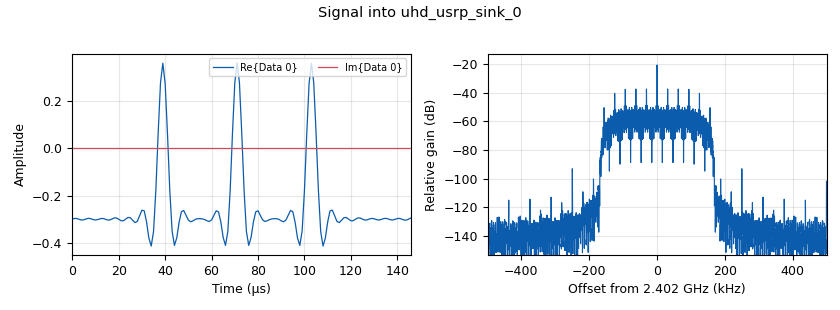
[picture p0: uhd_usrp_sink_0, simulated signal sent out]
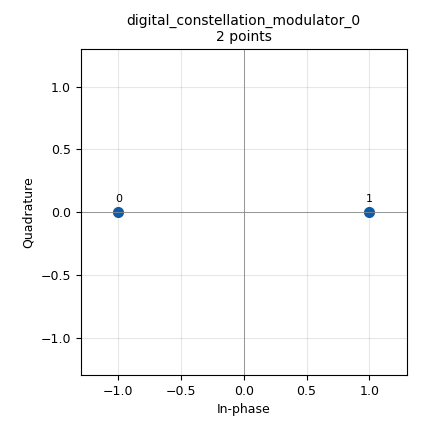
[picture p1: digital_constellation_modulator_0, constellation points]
options:
  parameters:
    author: DeepRadio
    category: '[DeepRadio]'
    comment: USRP B210 continuous BPSK test transmitter at 2.402 GHz
    description: Continuous, pulse-shaped BPSK test signal for a USRP B210. Connect a suitable 2.4 GHz antenna or a rated 50-ohm load before starting.
    generate_options: no_gui
    id: b210_bpsk_tx_2402MHz
    output_language: python
    title: USRP B210 BPSK TX - 2.402 GHz
  states: {}

blocks:
- name: amplitude
  id: variable
  parameters:
    comment: Digital baseband amplitude; keep below 1.0
    value: '0.30'
  states: {}
- name: center_freq
  id: variable
  parameters:
    comment: RF carrier frequency (Hz)
    value: 2.402e9
  states: {}
- name: excess_bw
  id: variable
  parameters:
    comment: Root-raised-cosine roll-off factor
    value: '0.35'
  states: {}
- name: samp_rate
  id: variable
  parameters:
    comment: USRP complex sample rate (samples/s)
    value: 1e6
  states: {}
- name: sps
  id: variable
  parameters:
    comment: Samples per BPSK symbol; symbol rate = samp_rate / sps
    value: '4'
  states: {}
- name: tx_gain
  id: variable
  parameters:
    comment: B210 TX hardware gain (dB); start low
    value: '20'
  states: {}
- name: blocks_multiply_const_vxx_0
  id: blocks_multiply_const_vxx
  parameters:
    comment: Conservative digital amplitude to avoid DAC clipping
    const: amplitude
    type: complex
  states: {}
- name: blocks_vector_source_x_0
  id: blocks_vector_source_x
  parameters:
    comment: Repeated 127-bit pseudo-random test sequence; values are BPSK symbol indices 0 and 1
    repeat: 'True'
    type: byte
    vector: (1,1,1,1,1,1,1,0,1,0,1,0,1,0,0,1,1,0,0,1,0,0,0,1,0,0,1,1,1,0,1,1,0,1,0,0,1,0,1,1,1,1,0,0,1,0,0,0,0,1,0,1,1,0,1,1,1,0,0,0,1,1,0,1,1,1,0,1,0,1,0,0,0,0,1,1,1,0,0,1,1,0,1,0,0,0,1,0,1,0,1,1,0,0,0,0,1,0,0,0,0,0,1,1,0,0,0,0,0,1,0,0,0,1,0,0,1,0,1,1,1,0,1,0,0)
  states: {}
- name: digital_constellation_modulator_0
  id: digital_constellation_modulator
  parameters:
    comment: BPSK mapping plus root-raised-cosine pulse shaping
    constellation: digital.constellation_bpsk().base()
    differential: 'False'
    excess_bw: excess_bw
    samples_per_symbol: sps
  states: {}
- name: uhd_usrp_sink_0
  id: uhd_usrp_sink
  parameters:
    ant0: TX/RX
    bw0: samp_rate
    center_freq0: center_freq
    clock_rate: '0.0'
    clock_source0: internal
    comment: USRP B210 channel A transmitter. Leave device address empty to use the first detected USRP.
    dev_args: '""'
    gain0: tx_gain
    otw: sc16
    samp_rate: samp_rate
    sync: none
    time_source0: internal
    type: fc32
  states: {}

connections:
- [blocks_multiply_const_vxx_0, '0', uhd_usrp_sink_0, '0']
- [blocks_vector_source_x_0, '0', digital_constellation_modulator_0, '0']
- [digital_constellation_modulator_0, '0', blocks_multiply_const_vxx_0, '0']

metadata:
  file_format: 1
  grc_version: 3.10.12.0
